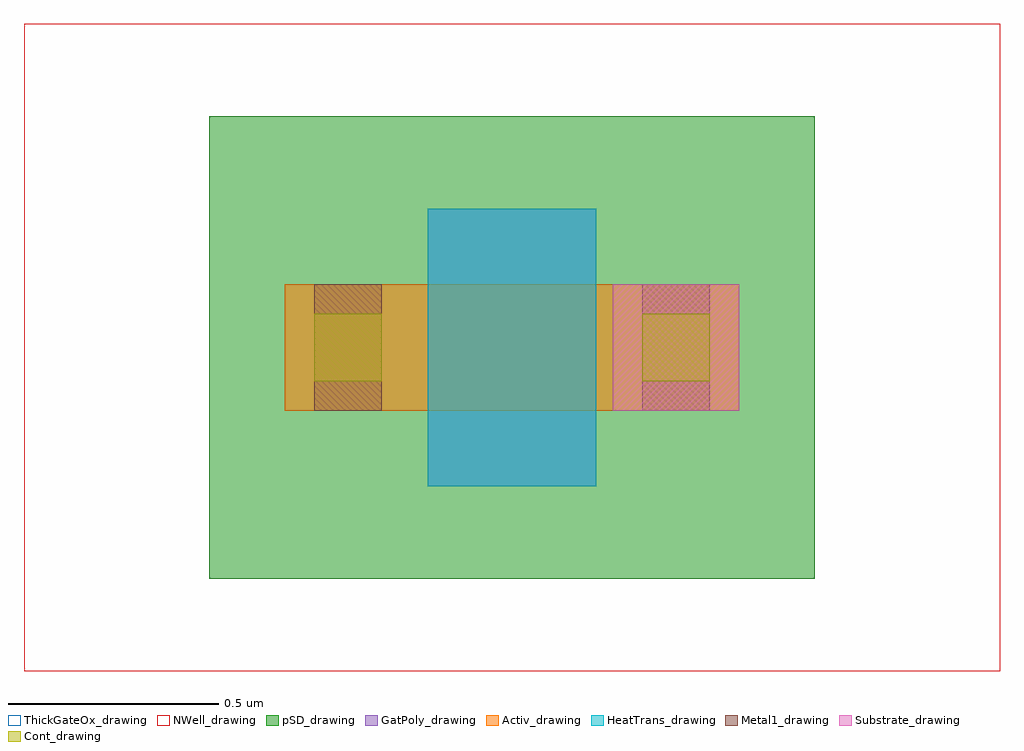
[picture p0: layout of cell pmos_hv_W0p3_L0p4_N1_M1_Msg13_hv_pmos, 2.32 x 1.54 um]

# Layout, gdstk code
import gdstk
lib = gdstk.Library(unit=1e-6, precision=1e-09)
def R(c, l, rs):  # rectangles x0, y0, x1, y1
    for r in rs: c.add(gdstk.rectangle(r[:2], r[2:], *l))
Activ_drawing = (1, 0)
GatPoly_drawing = (5, 0)
Cont_drawing = (6, 0)
Metal1_drawing = (8, 0)
pSD_drawing = (14, 0)
NWell_drawing = (31, 0)
Substrate_drawing = (40, 0)
ThickGateOx_drawing = (44, 0)
HeatTrans_drawing = (51, 0)

pmos_hv_w0p3_l0p4_n1_m1_ = lib.new_cell('pmos_hv_W0p3_L0p4_N1_M1_Msg13_hv_pmos')
R(pmos_hv_w0p3_l0p4_n1_m1_, Activ_drawing, [(0,0,0.3,0.3), (0,0,1.08,0.3), (0.78,0,1.08,0.3)])
R(pmos_hv_w0p3_l0p4_n1_m1_, GatPoly_drawing, [(0.34,-0.18,0.74,0.48), (0.34,-0.18,0.74,0.48)])
R(pmos_hv_w0p3_l0p4_n1_m1_, Cont_drawing, [(0.07,0.07,0.23,0.23), (0.85,0.07,1.01,0.23)])
R(pmos_hv_w0p3_l0p4_n1_m1_, Metal1_drawing, [(0.07,0,0.23,0.3), (0.07,0,0.23,0.3), (0.85,0,1.01,0.3), (0.85,0,1.01,0.3)])
R(pmos_hv_w0p3_l0p4_n1_m1_, pSD_drawing, [(-0.18,-0.4,1.26,0.7)])
R(pmos_hv_w0p3_l0p4_n1_m1_, NWell_drawing, [(-0.62,-0.62,1.7,0.92)])
R(pmos_hv_w0p3_l0p4_n1_m1_, Substrate_drawing, [(0.78,0,1.08,0.3)])
R(pmos_hv_w0p3_l0p4_n1_m1_, ThickGateOx_drawing, [(-0.62,-0.62,1.7,0.92)])
R(pmos_hv_w0p3_l0p4_n1_m1_, HeatTrans_drawing, [(0.34,-0.18,0.74,0.48)])

lib.write_gds('pmos_hv_W0p3_L0p4_N1_M1_Msg13_hv_pmos.gds')
